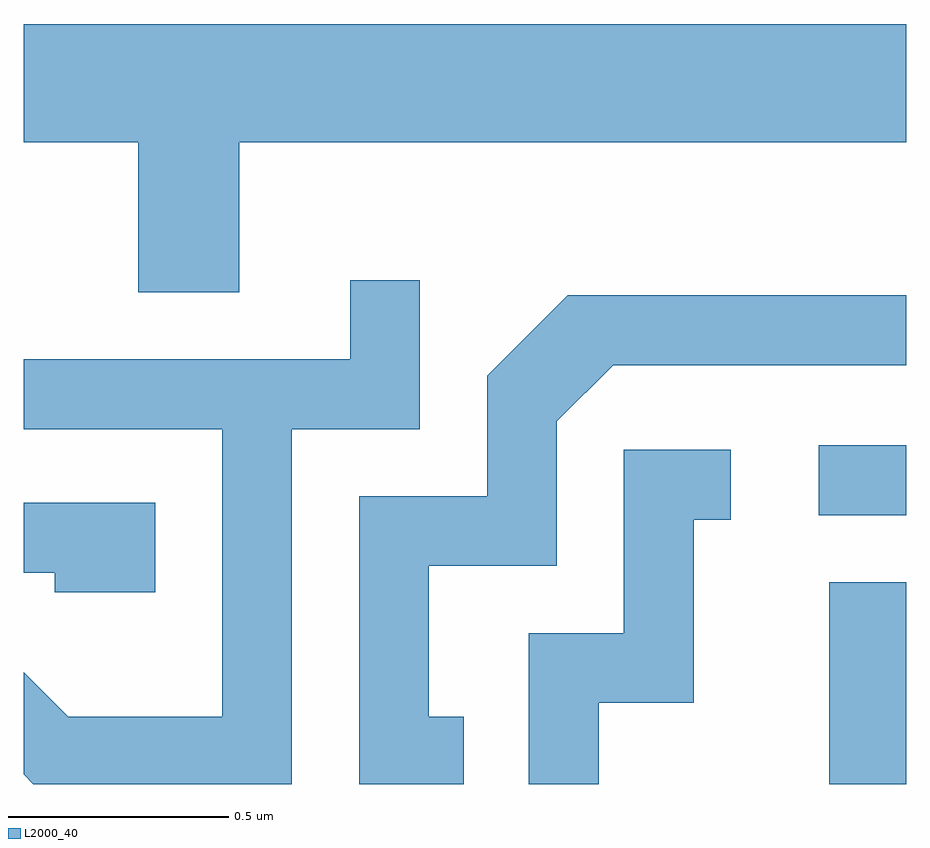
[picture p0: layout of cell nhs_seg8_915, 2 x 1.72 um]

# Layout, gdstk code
import gdstk
lib = gdstk.Library(unit=1e-6, precision=1e-09)
def R(c, l, rs):  # rectangles x0, y0, x1, y1
    for r in rs: c.add(gdstk.rectangle(r[:2], r[2:], *l))
def P(c, l, *ps):  # polygons
    for p in ps: c.add(gdstk.Polygon(p, *l))
L2000_40 = (2000, 40)

nhs_seg8_915 = lib.new_cell('nhs_seg8_915')
R(nhs_seg8_915, L2000_40, [(193.436,1899.342,193.611,1899.799), (193.413,1899.951,193.611,1900.109)])
P(nhs_seg8_915, L2000_40, [(192.099,1900.796),(193.611,1900.796),(193.611,1901.064),(191.611,1901.064),(191.611,1900.796),(191.871,1900.796),(191.871,1900.456),(192.099,1900.456)],
  [(192.219,1900.146),(192.509,1900.146),(192.509,1900.483),(192.351,1900.483),(192.351,1900.304),(191.611,1900.304),(191.611,1900.146),(192.061,1900.146),(192.061,1899.494),(191.712,1899.494),(191.611,1899.595),(191.611,1899.364),(191.633,1899.342),(192.219,1899.342)],
  [(192.608,1899.494),(192.529,1899.494),(192.529,1899.836),(192.819,1899.836),(192.819,1900.164),(192.947,1900.291),(193.611,1900.291),(193.611,1900.449),(192.844,1900.449),(192.661,1900.267),(192.661,1899.994),(192.371,1899.994),(192.371,1899.342),(192.608,1899.342)],
  [(192.914,1899.526),(193.129,1899.526),(193.129,1899.941),(193.213,1899.941),(193.213,1900.099),(192.971,1900.099),(192.971,1899.684),(192.756,1899.684),(192.756,1899.342),(192.914,1899.342)],
  [(191.909,1899.979),(191.611,1899.979),(191.611,1899.821),(191.681,1899.821),(191.681,1899.776),(191.909,1899.776)])

lib.write_gds('nhs_seg8_915.gds')
